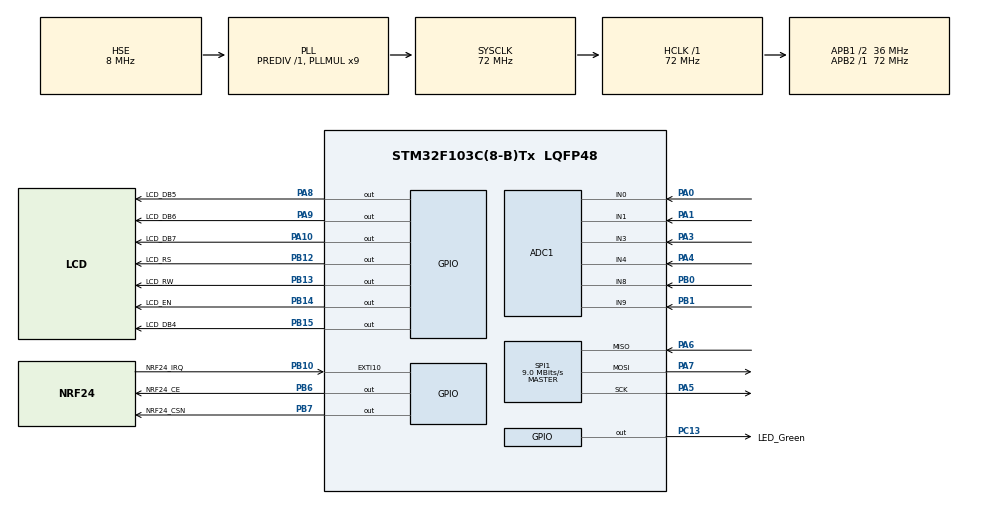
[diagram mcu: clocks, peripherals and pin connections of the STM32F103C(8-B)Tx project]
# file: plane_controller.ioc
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ADC1.Channel-18\#ChannelRegularConversion=ADC_CHANNEL_0
ADC1.Channel-19\#ChannelRegularConversion=ADC_CHANNEL_1
ADC1.Channel-20\#ChannelRegularConversion=ADC_CHANNEL_3
ADC1.Channel-21\#ChannelRegularConversion=ADC_CHANNEL_4
ADC1.Channel-22\#ChannelRegularConversion=ADC_CHANNEL_8
ADC1.Channel-23\#ChannelRegularConversion=ADC_CHANNEL_9
ADC1.ContinuousConvMode=ENABLE
ADC1.EnableRegularConversion=ENABLE
ADC1.NbrOfConversion=6
ADC1.NbrOfConversionFlag=1
ADC1.Rank-18\#ChannelRegularConversion=1
ADC1.Rank-19\#ChannelRegularConversion=2
ADC1.Rank-20\#ChannelRegularConversion=3
ADC1.Rank-21\#ChannelRegularConversion=4
ADC1.Rank-22\#ChannelRegularConversion=5
ADC1.Rank-23\#ChannelRegularConversion=6
ADC1.SamplingTime-18\#ChannelRegularConversion=ADC_SAMPLETIME_1CYCLE_5
ADC1.SamplingTime-19\#ChannelRegularConversion=ADC_SAMPLETIME_1CYCLE_5
ADC1.SamplingTime-20\#ChannelRegularConversion=ADC_SAMPLETIME_1CYCLE_5
ADC1.SamplingTime-21\#ChannelRegularConversion=ADC_SAMPLETIME_1CYCLE_5
ADC1.SamplingTime-22\#ChannelRegularConversion=ADC_SAMPLETIME_1CYCLE_5
ADC1.SamplingTime-23\#ChannelRegularConversion=ADC_SAMPLETIME_1CYCLE_5
ADC1.master=1
Dma.ADC1.0.Direction=DMA_PERIPH_TO_MEMORY
Dma.ADC1.0.Instance=DMA1_Channel1
Dma.ADC1.0.MemDataAlignment=DMA_MDATAALIGN_HALFWORD
Dma.ADC1.0.MemInc=DMA_MINC_ENABLE
Dma.ADC1.0.Mode=DMA_CIRCULAR
Dma.ADC1.0.PeriphDataAlignment=DMA_PDATAALIGN_HALFWORD
Dma.ADC1.0.PeriphInc=DMA_PINC_DISABLE
Dma.ADC1.0.Priority=DMA_PRIORITY_LOW
Dma.Request0=ADC1
Mcu.Family=STM32F1
Mcu.Name=STM32F103C(8-B)Tx
Mcu.Package=LQFP48
NVIC.EXTI15_10_IRQn=true\:0\:0\:false\:false\:true\:true\:true
NVIC.PriorityGroup=NVIC_PRIORITYGROUP_4
NVIC.SPI1_IRQn=true\:0\:0\:false\:false\:true\:true\:true
PA0-WKUP.Signal=ADCx_IN0
PA1.Signal=ADCx_IN1
PA10.GPIO_Label=LCD_DB7
PA10.Signal=GPIO_Output
PA13.Mode=Serial_Wire
PA13.Signal=SYS_JTMS-SWDIO
PA14.Mode=Serial_Wire
PA14.Signal=SYS_JTCK-SWCLK
PA3.Signal=ADCx_IN3
PA4.Signal=ADCx_IN4
PA5.Mode=Full_Duplex_Master
PA5.Signal=SPI1_SCK
PA6.Mode=Full_Duplex_Master
PA6.Signal=SPI1_MISO
PA7.Mode=Full_Duplex_Master
PA7.Signal=SPI1_MOSI
PA8.GPIO_Label=LCD_DB5
PA8.Signal=GPIO_Output
PA9.GPIO_Label=LCD_DB6
PA9.Signal=GPIO_Output
PB0.Signal=ADCx_IN8
PB1.Signal=ADCx_IN9
PB10.GPIO_Label=NRF24_IRQ
PB10.GPIO_ModeDefaultEXTI=GPIO_MODE_IT_FALLING
PB10.Signal=GPXTI10
PB12.GPIO_Label=LCD_RS
PB12.Signal=GPIO_Output
PB13.GPIO_Label=LCD_RW
PB13.Signal=GPIO_Output
PB14.GPIO_Label=LCD_EN
PB14.Signal=GPIO_Output
PB15.GPIO_Label=LCD_DB4
PB15.Signal=GPIO_Output
PB6.GPIO_Label=NRF24_CE
PB6.GPIO_Speed=GPIO_SPEED_FREQ_HIGH
PB6.Signal=GPIO_Output
PB7.GPIO_Label=NRF24_CSN
PB7.GPIO_Speed=GPIO_SPEED_FREQ_HIGH
PB7.Signal=GPIO_Output
PC13-TAMPER-RTC.GPIO_Label=LED_Green
PC13-TAMPER-RTC.Signal=GPIO_Output
PD0-OSC_IN.Mode=HSE-External-Oscillator
PD0-OSC_IN.Signal=RCC_OSC_IN
PD1-OSC_OUT.Mode=HSE-External-Oscillator
PD1-OSC_OUT.Signal=RCC_OSC_OUT
ProjectManager.HeapSize=0x200
ProjectManager.StackSize=0x400
ProjectManager.TargetToolchain=STM32CubeIDE
RCC.ADCPresc=RCC_ADCPCLK2_DIV6
RCC.AHBFreq_Value=72000000
RCC.APB1CLKDivider=RCC_HCLK_DIV2
RCC.APB1Freq_Value=36000000
RCC.APB1TimFreq_Value=72000000
RCC.APB2Freq_Value=72000000
RCC.APB2TimFreq_Value=72000000
RCC.HCLKFreq_Value=72000000
RCC.PLLMUL=RCC_PLL_MUL9
RCC.PLLSourceVirtual=RCC_PLLSOURCE_HSE
RCC.SYSCLKFreq_VALUE=72000000
RCC.SYSCLKSource=RCC_SYSCLKSOURCE_PLLCLK
RCC.USBFreq_Value=72000000
SH.ADCx_IN0.0=ADC1_IN0,IN0
SH.ADCx_IN1.0=ADC1_IN1,IN1
SH.ADCx_IN3.0=ADC1_IN3,IN3
SH.ADCx_IN4.0=ADC1_IN4,IN4
SH.ADCx_IN8.0=ADC1_IN8,IN8
SH.ADCx_IN9.0=ADC1_IN9,IN9
SPI1.BaudRatePrescaler=SPI_BAUDRATEPRESCALER_8
SPI1.CLKPhase=SPI_PHASE_1EDGE
SPI1.CLKPolarity=SPI_POLARITY_LOW
SPI1.CalculateBaudRate=9.0 MBits/s
SPI1.DataSize=SPI_DATASIZE_8BIT
SPI1.Direction=SPI_DIRECTION_2LINES
SPI1.Mode=SPI_MODE_MASTER
SPI1.VirtualType=VM_MASTER
TIM1.Period=0xffff-1
TIM1.Prescaler=72-1
VP_TIM1_VS_ClockSourceINT.Mode=Internal
board=custom

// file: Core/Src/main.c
/* USER CODE BEGIN Header */
/**
  ******************************************************************************
  * @file           : main.c
  * @brief          : Main program body
  ******************************************************************************
  * @attention
  *
  * <h2><center>&copy; Copyright (c) 2024 STMicroelectronics.
  * All rights reserved.</center></h2>
  *
  * This software component is licensed by ST under BSD 3-Clause license,
  * the "License"; You may not use this file except in compliance with the
  * License. You may obtain a copy of the License at:
  *                        opensource.org/licenses/BSD-3-Clause
  *
  ******************************************************************************
  */
/* USER CODE END Header */
#include "main.h"

/* USER CODE BEGIN Includes */
#include <string.h>
#include <stdio.h>
#include "nRF24L01.h"
#include "lcd.h"

/* USER CODE END Includes */

ADC_HandleTypeDef hadc1;
DMA_HandleTypeDef hdma_adc1;

SPI_HandleTypeDef hspi1;

TIM_HandleTypeDef htim1;

/* USER CODE BEGIN PV */

uint8_t TX_ADDRESS[5] = {0xEE, 0xDD, 0xCC, 0xBB, 0xAA};
const uint8_t CHANNEL = 1;
char lcd_str[16] = "init";
uint16_t adc_values[16] = {0};

/* USER CODE END PV */

void SystemClock_Config(void);
static void MX_GPIO_Init(void);
static void MX_DMA_Init(void);
static void MX_SPI1_Init(void);
static void MX_TIM1_Init(void);
static void MX_ADC1_Init(void);

int main(void)
{
  /* USER CODE BEGIN 1 */
	// PB3 & PB4 are not working
  /* USER CODE END 1 */

  /* MCU Configuration--------------------------------------------------------*/

  /* Reset of all peripherals, Initializes the Flash interface and the Systick. */
  HAL_Init();

  /* Configure the system clock */
  SystemClock_Config();

  /* Initialize all configured peripherals */
  MX_GPIO_Init();
  MX_DMA_Init();
  MX_SPI1_Init();
  MX_TIM1_Init();
  MX_ADC1_Init();
  /* USER CODE BEGIN 2 */

  /* Timer */
  HAL_TIM_Base_Start(&htim1);

  /* ADC */
  HAL_ADC_Start_DMA(&hadc1, (uint32_t*)adc_values, 6);

  /* LCD */
  lcd_init();
  lcd_clear();
  lcd_print(lcd_str);

  /* TX Mode */
  HAL_Delay(100);
  nrf24_reset();
  nrf24_init();
  nrf24_set_tx_mode(CHANNEL, TX_ADDRESS);
  HAL_Delay(100);
  //NRF24_StateTypeDef state;
  //nrf24_read_state(&state);

  /* USER CODE END 2 */

  /* Infinite loop */
  /* USER CODE BEGIN WHILE */
  while (1)
  {
  	lcd_clear();
		nrf24_transmit((uint8_t*)adc_values, 32);
		sprintf(lcd_str, "%d", adc_values[0]);
		lcd_print(lcd_str);

    /* USER CODE END WHILE */

  }
}

void SystemClock_Config(void)
{
  RCC_OscInitTypeDef RCC_OscInitStruct = {0};
  RCC_ClkInitTypeDef RCC_ClkInitStruct = {0};
  RCC_PeriphCLKInitTypeDef PeriphClkInit = {0};

  /** Initializes the RCC Oscillators according to the specified parameters
  * in the RCC_OscInitTypeDef structure.
  */
  RCC_OscInitStruct.OscillatorType = RCC_OSCILLATORTYPE_HSE;
  RCC_OscInitStruct.HSEState = RCC_HSE_ON;
  RCC_OscInitStruct.HSEPredivValue = RCC_HSE_PREDIV_DIV1;
  RCC_OscInitStruct.HSIState = RCC_HSI_ON;
  RCC_OscInitStruct.PLL.PLLState = RCC_PLL_ON;
  RCC_OscInitStruct.PLL.PLLSource = RCC_PLLSOURCE_HSE;
  RCC_OscInitStruct.PLL.PLLMUL = RCC_PLL_MUL9;
  if (HAL_RCC_OscConfig(&RCC_OscInitStruct) != HAL_OK)
  {
    Error_Handler();
  }
  /** Initializes the CPU, AHB and APB buses clocks
  */
  RCC_ClkInitStruct.ClockType = RCC_CLOCKTYPE_HCLK|RCC_CLOCKTYPE_SYSCLK
                              |RCC_CLOCKTYPE_PCLK1|RCC_CLOCKTYPE_PCLK2;
  RCC_ClkInitStruct.SYSCLKSource = RCC_SYSCLKSOURCE_PLLCLK;
  RCC_ClkInitStruct.AHBCLKDivider = RCC_SYSCLK_DIV1;
  RCC_ClkInitStruct.APB1CLKDivider = RCC_HCLK_DIV2;
  RCC_ClkInitStruct.APB2CLKDivider = RCC_HCLK_DIV1;

  if (HAL_RCC_ClockConfig(&RCC_ClkInitStruct, FLASH_LATENCY_2) != HAL_OK)
  {
    Error_Handler();
  }
  PeriphClkInit.PeriphClockSelection = RCC_PERIPHCLK_ADC;
  PeriphClkInit.AdcClockSelection = RCC_ADCPCLK2_DIV6;
  if (HAL_RCCEx_PeriphCLKConfig(&PeriphClkInit) != HAL_OK)
  {
    Error_Handler();
  }
}

static void MX_ADC1_Init(void)
{

  ADC_ChannelConfTypeDef sConfig = {0};

  /** Common config
  */
  hadc1.Instance = ADC1;
  hadc1.Init.ScanConvMode = ADC_SCAN_ENABLE;
  hadc1.Init.ContinuousConvMode = ENABLE;
  hadc1.Init.DiscontinuousConvMode = DISABLE;
  hadc1.Init.ExternalTrigConv = ADC_SOFTWARE_START;
  hadc1.Init.DataAlign = ADC_DATAALIGN_RIGHT;
  hadc1.Init.NbrOfConversion = 6;
  if (HAL_ADC_Init(&hadc1) != HAL_OK)
  {
    Error_Handler();
  }
  /** Configure Regular Channel
  */
  sConfig.Channel = ADC_CHANNEL_0;
  sConfig.Rank = ADC_REGULAR_RANK_1;
  sConfig.SamplingTime = ADC_SAMPLETIME_1CYCLE_5;
  if (HAL_ADC_ConfigChannel(&hadc1, &sConfig) != HAL_OK)
  {
    Error_Handler();
  }
  /** Configure Regular Channel
  */
  sConfig.Channel = ADC_CHANNEL_1;
  sConfig.Rank = ADC_REGULAR_RANK_2;
  if (HAL_ADC_ConfigChannel(&hadc1, &sConfig) != HAL_OK)
  {
    Error_Handler();
  }
  /** Configure Regular Channel
  */
  sConfig.Channel = ADC_CHANNEL_3;
  sConfig.Rank = ADC_REGULAR_RANK_3;
  if (HAL_ADC_ConfigChannel(&hadc1, &sConfig) != HAL_OK)
  {
    Error_Handler();
  }
  /** Configure Regular Channel
  */
  sConfig.Channel = ADC_CHANNEL_4;
  sConfig.Rank = ADC_REGULAR_RANK_4;
  if (HAL_ADC_ConfigChannel(&hadc1, &sConfig) != HAL_OK)
  {
    Error_Handler();
  }
  /** Configure Regular Channel
  */
  sConfig.Channel = ADC_CHANNEL_8;
  sConfig.Rank = ADC_REGULAR_RANK_5;
  if (HAL_ADC_ConfigChannel(&hadc1, &sConfig) != HAL_OK)
  {
    Error_Handler();
  }
  /** Configure Regular Channel
  */
  sConfig.Channel = ADC_CHANNEL_9;
  sConfig.Rank = ADC_REGULAR_RANK_6;
  if (HAL_ADC_ConfigChannel(&hadc1, &sConfig) != HAL_OK)
  {
    Error_Handler();
  }

}

static void MX_SPI1_Init(void)
{

  /* SPI1 parameter configuration*/
  hspi1.Instance = SPI1;
  hspi1.Init.Mode = SPI_MODE_MASTER;
  hspi1.Init.Direction = SPI_DIRECTION_2LINES;
  hspi1.Init.DataSize = SPI_DATASIZE_8BIT;
  hspi1.Init.CLKPolarity = SPI_POLARITY_LOW;
  hspi1.Init.CLKPhase = SPI_PHASE_1EDGE;
  hspi1.Init.NSS = SPI_NSS_SOFT;
  hspi1.Init.BaudRatePrescaler = SPI_BAUDRATEPRESCALER_8;
  hspi1.Init.FirstBit = SPI_FIRSTBIT_MSB;
  hspi1.Init.TIMode = SPI_TIMODE_DISABLE;
  hspi1.Init.CRCCalculation = SPI_CRCCALCULATION_DISABLE;
  hspi1.Init.CRCPolynomial = 10;
  if (HAL_SPI_Init(&hspi1) != HAL_OK)
  {
    Error_Handler();
  }

}

static void MX_TIM1_Init(void)
{

  TIM_ClockConfigTypeDef sClockSourceConfig = {0};
  TIM_MasterConfigTypeDef sMasterConfig = {0};

  htim1.Instance = TIM1;
  htim1.Init.Prescaler = 72-1;
  htim1.Init.CounterMode = TIM_COUNTERMODE_UP;
  htim1.Init.Period = 0xffff-1;
  htim1.Init.ClockDivision = TIM_CLOCKDIVISION_DIV1;
  htim1.Init.RepetitionCounter = 0;
  htim1.Init.AutoReloadPreload = TIM_AUTORELOAD_PRELOAD_DISABLE;
  if (HAL_TIM_Base_Init(&htim1) != HAL_OK)
  {
    Error_Handler();
  }
  sClockSourceConfig.ClockSource = TIM_CLOCKSOURCE_INTERNAL;
  if (HAL_TIM_ConfigClockSource(&htim1, &sClockSourceConfig) != HAL_OK)
  {
    Error_Handler();
  }
  sMasterConfig.MasterOutputTrigger = TIM_TRGO_RESET;
  sMasterConfig.MasterSlaveMode = TIM_MASTERSLAVEMODE_DISABLE;
  if (HAL_TIMEx_MasterConfigSynchronization(&htim1, &sMasterConfig) != HAL_OK)
  {
    Error_Handler();
  }

}

static void MX_DMA_Init(void)
{

  /* DMA controller clock enable */
  __HAL_RCC_DMA1_CLK_ENABLE();

}

static void MX_GPIO_Init(void)
{
  GPIO_InitTypeDef GPIO_InitStruct = {0};

  /* GPIO Ports Clock Enable */
  __HAL_RCC_GPIOC_CLK_ENABLE();
  __HAL_RCC_GPIOD_CLK_ENABLE();
  __HAL_RCC_GPIOA_CLK_ENABLE();
  __HAL_RCC_GPIOB_CLK_ENABLE();

  /*Configure GPIO pin Output Level */
  HAL_GPIO_WritePin(LED_Green_GPIO_Port, LED_Green_Pin, GPIO_PIN_RESET);

  /*Configure GPIO pin Output Level */
  HAL_GPIO_WritePin(GPIOB, LCD_RS_Pin|LCD_RW_Pin|LCD_EN_Pin|LCD_DB4_Pin
                          |NRF24_CE_Pin|NRF24_CSN_Pin, GPIO_PIN_RESET);

  /*Configure GPIO pin Output Level */
  HAL_GPIO_WritePin(GPIOA, LCD_DB5_Pin|LCD_DB6_Pin|LCD_DB7_Pin, GPIO_PIN_RESET);

  /*Configure GPIO pin : LED_Green_Pin */
  GPIO_InitStruct.Pin = LED_Green_Pin;
  GPIO_InitStruct.Mode = GPIO_MODE_OUTPUT_PP;
  GPIO_InitStruct.Pull = GPIO_NOPULL;
  GPIO_InitStruct.Speed = GPIO_SPEED_FREQ_LOW;
  HAL_GPIO_Init(LED_Green_GPIO_Port, &GPIO_InitStruct);

  /*Configure GPIO pin : NRF24_IRQ_Pin */
  GPIO_InitStruct.Pin = NRF24_IRQ_Pin;
  GPIO_InitStruct.Mode = GPIO_MODE_IT_FALLING;
  GPIO_InitStruct.Pull = GPIO_NOPULL;
  HAL_GPIO_Init(NRF24_IRQ_GPIO_Port, &GPIO_InitStruct);

  /*Configure GPIO pins : LCD_RS_Pin LCD_RW_Pin LCD_EN_Pin LCD_DB4_Pin */
  GPIO_InitStruct.Pin = LCD_RS_Pin|LCD_RW_Pin|LCD_EN_Pin|LCD_DB4_Pin;
  GPIO_InitStruct.Mode = GPIO_MODE_OUTPUT_PP;
  GPIO_InitStruct.Pull = GPIO_NOPULL;
  GPIO_InitStruct.Speed = GPIO_SPEED_FREQ_LOW;
  HAL_GPIO_Init(GPIOB, &GPIO_InitStruct);

  /*Configure GPIO pins : LCD_DB5_Pin LCD_DB6_Pin LCD_DB7_Pin */
  GPIO_InitStruct.Pin = LCD_DB5_Pin|LCD_DB6_Pin|LCD_DB7_Pin;
  GPIO_InitStruct.Mode = GPIO_MODE_OUTPUT_PP;
  GPIO_InitStruct.Pull = GPIO_NOPULL;
  GPIO_InitStruct.Speed = GPIO_SPEED_FREQ_LOW;
  HAL_GPIO_Init(GPIOA, &GPIO_InitStruct);

  /*Configure GPIO pins : NRF24_CE_Pin NRF24_CSN_Pin */
  GPIO_InitStruct.Pin = NRF24_CE_Pin|NRF24_CSN_Pin;
  GPIO_InitStruct.Mode = GPIO_MODE_OUTPUT_PP;
  GPIO_InitStruct.Pull = GPIO_NOPULL;
  GPIO_InitStruct.Speed = GPIO_SPEED_FREQ_HIGH;
  HAL_GPIO_Init(GPIOB, &GPIO_InitStruct);

  /* EXTI interrupt init*/
  HAL_NVIC_SetPriority(EXTI15_10_IRQn, 0, 0);
  HAL_NVIC_EnableIRQ(EXTI15_10_IRQn);

}

/* USER CODE BEGIN 4 */

void HAL_GPIO_EXTI_Callback(uint16_t GPIO_Pin)
{
	if (GPIO_Pin == NRF24_IRQ_Pin) {
		HAL_GPIO_TogglePin(LED_Green_GPIO_Port, LED_Green_Pin);
	}
}

/* USER CODE END 4 */

void Error_Handler(void)
{
  __disable_irq();
  while (1)
  {
  }
}

/************************ (C) COPYRIGHT STMicroelectronics *****END OF FILE****/
